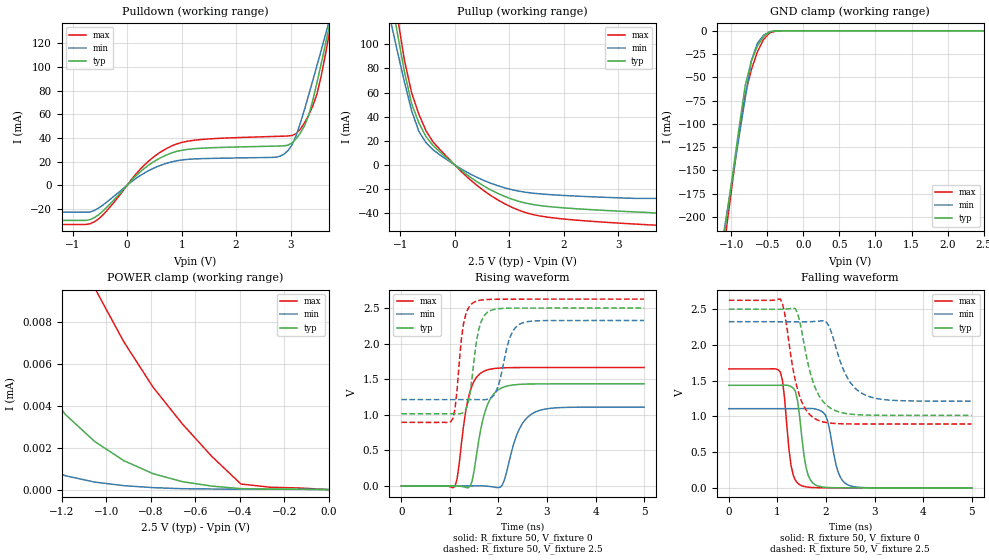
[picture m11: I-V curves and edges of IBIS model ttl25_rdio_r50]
| [Disclaimer] Data is for modeling purposes only and is not guaranteed.
| [Copyright] Copyright (C) 2018  Intel Corporation. All rights reserved.
| From ACDC-1v1.ibs, EP4CGX110DF27C7_acdc-1v1, Altera Corporation
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[Model]   ttl25_rdio_r50
Model_type  I/O
Polarity   Non-Inverting
Enable Active-Low
Vinl   = 0.7
Vinh   = 1.7
Vmeas  = 1.1625
Rref   = 10M
Cref   = 0pF
Vref   = 0
| C_comp values for differential type row I/O
C_comp 5.0pF   5.0pF   5.0pF
[Temperature Range] 25   85   0
[Voltage Range]  2.5   2.325   2.625
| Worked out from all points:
|   slope of the pulldown table from 0 to 0.375 V, typ, clamps not added: 23 ohm
|   slope of the pullup table from 0 to 0.375 V, typ, clamps not added: 28.9 ohm
|   GND clamp passes 1 mA (typ) near -0.45 V on its own axis
|   rising waveform, R_fixture 50, V_fixture 0: 20-80 % time 264ps typ, 326ps min, 222ps max; typ from 0 V to 1.44 V
|   falling waveform, R_fixture 50, V_fixture 0: 20-80 % time 161ps typ, 201ps min, 143ps max; typ from 1.44 V to 0 V
|   rising waveform, R_fixture 50, V_fixture 2.5: 20-80 % time 179ps typ, 239ps min, 151ps max; typ from 1.01 V to 2.5 V
|   falling waveform, R_fixture 50, V_fixture 2.5: 20-80 % time 342ps typ, 400ps min, 294ps max; typ from 2.5 V to 1.01 V
[GND Clamp]
| voltage   I (typ)   I (min)   I (max)
-2.5V     -1.003A    -896.6mA   -1.061A
-1.144V   -246.2mA   -237.3mA   -259.1mA
-1.059V   -198.9mA   -196.1mA   -209mA
-974.6mV  -151.6mA   -154.9mA   -158.9mA
-889.8mV  -104.3mA   -113.6mA   -108.8mA
-805.1mV  -58.87mA   -72.41mA   -68.82mA
-720.3mV  -32.71mA   -32.28mA   -41.9mA
-635.6mV  -16.39mA   -13.32mA   -22.54mA
-550.8mV  -6.002mA   -4.742mA   -9.332mA
-466.1mV  -1.153mA   -978.7uA   -2.246mA
-296.6mV  -4.671uA   -8.865uA   -9.476uA
2.5V      0A         0A         0A
[Pulldown]
| voltage   I (typ)   I (min)   I (max)
-2.5V     -29.71mA   -22.7mA    -33.15mA
-681.8mV  -29.03mA   -22.7mA    -32.55mA
-378.8mV  -18.84mA   -14.38mA   -21.84mA
303mV     13.76mA    10mA       16.49mA
833.3mV   27.57mA    19.96mA    33.53mA
2.803V    33.2mA     24.48mA    41.43mA
3.03V     35.95mA    34.5mA     42.08mA
3.333V    59.33mA    76.55mA    59.47mA
3.485V    86.93mA    101.4mA    77.33mA
3.636V    118.7mA    126.8mA    110mA
3.712V    134.9mA    139.6mA    128.8mA
5V        402.1mA    360.9mA    438.2mA
[POWER Clamp]
| voltage   I (typ)   I (min)   I (max)
-2.5V     124.2uA    71.4uA     182.5uA
-1.842V   22.83uA    9.323uA    54.47uA
-1.71V    16.91uA    6.328uA    36.85uA
-1.579V   12.15uA    3.972uA    28.84uA
-1.447V   8.324uA    2.282uA    22.32uA
-1.316V   5.498uA    1.229uA    16.96uA
-1.184V   3.593uA    664.1nA    12.8uA
-1.053V   2.304uA    360.8nA    9.644uA
-789.5mV  760.1nA    93.71nA    4.89uA
-526.3mV  168.2nA    28.96nA    1.594uA
-394.7mV  45.58nA    23.7nA     267.4nA
0V        0A         0A         0A
[Pullup]
| voltage   I (typ)   I (min)   I (max)
-2.5V     484.3mA    397.2mA    558.1mA
-1.184V   144mA      121.7mA    163.3mA
-1.053V   110mA      94.77mA    124mA
-921.1mV  77.39mA    68.79mA    87.02mA
-789.5mV  50.9mA     45.04mA    59.95mA
-657.9mV  35.05mA    27.98mA    42.23mA
-526.3mV  23.51mA    18.45mA    28.37mA
-394.7mV  16.01mA    12.45mA    18.92mA
263.2mV   -9.457mA   -7.03mA    -11.47mA
1.053V    -28.51mA   -20.66mA   -35.31mA
2.237V    -36.48mA   -25.96mA   -45.94mA
5V        -40mA      -27.9mA    -50.2mA
[Ramp]
dV/dt_r   8.610e-001/2.642e-010  6.648e-001/3.259e-010  9.984e-001/2.217e-010
dV/dt_f   8.916e-001/3.422e-010  6.666e-001/3.998e-010  1.039e+000/2.940e-010
R_load = 50ohms
[Rising Waveform]
R_fixture   = 50
V_fixture   = 0
V_fixture_min = 0
V_fixture_max = 0
| time   V (typ)   V (min)   V (max)
0s        0V         0V         0V
1.104ns   996.5uV    -113.5uV   -6.049mV
1.326ns   -19.8mV    -127.7uV   1.048V
1.415ns   -6.62mV    -142.4uV   1.326V
1.68ns    936.6mV    374.4uV    1.605V
1.858ns   1.252V     -10.1mV    1.644V
2.079ns   1.382V     13.75mV    1.659V
2.389ns   1.425V     738.2mV    1.663V
2.744ns   1.433V     1.033V     1.664V
5ns       1.435V     1.108V     1.664V
[Falling Waveform]
R_fixture   = 50
V_fixture   = 0
V_fixture_min = 0
V_fixture_max = 0
| time   V (typ)   V (min)   V (max)
0s        1.435V     1.108V     1.664V
1.06ns    1.436V     1.108V     1.622V
1.282ns   1.417V     1.108V     311.7mV
1.459ns   993.1mV    1.109V     43.66mV
1.592ns   280.6mV    1.11V      13.87mV
1.813ns   31.87mV    1.098V     2.461mV
1.991ns   7.68mV     1.017V     638.7uV
2.256ns   1.022mV    210.7mV    82.91uV
2.433ns   266.4uV    48.36mV    19.97uV
5ns       0V         -955.9nV   0V
[Rising Waveform]
R_fixture   = 50
V_fixture   = 2.5
V_fixture_min = 2.325
V_fixture_max = 2.625
| time   V (typ)   V (min)   V (max)
0s        1.014V     1.214V     893.2mV
1.06ns    1.015V     1.213V     944.2mV
1.282ns   1.033V     1.213V     2.281V
1.415ns   1.301V     1.213V     2.534V
1.503ns   1.804V     1.213V     2.584V
1.725ns   2.408V     1.212V     2.618V
1.946ns   2.485V     1.321V     2.623V
2.256ns   2.498V     2.12V      2.624V
2.478ns   2.499V     2.286V     2.624V
5ns       2.5V       2.325V     2.625V
[Falling Waveform]
R_fixture   = 50
V_fixture   = 2.5
V_fixture_min = 2.325
V_fixture_max = 2.625
| time   V (typ)   V (min)   V (max)
0s        2.5V       2.325V     2.625V
1.06ns    2.499V     2.324V     2.641V
1.149ns   2.5V       2.324V     2.444V
1.415ns   2.444V     2.324V     1.379V
1.636ns   1.721V     2.324V     1.048V
1.813ns   1.347V     2.331V     953.2mV
2.035ns   1.145V     2.296V     911.3mV
2.433ns   1.038V     1.55V      895.2mV
2.788ns   1.019V     1.306V     893.5mV
5ns       1.014V     1.214V     893.2mV
